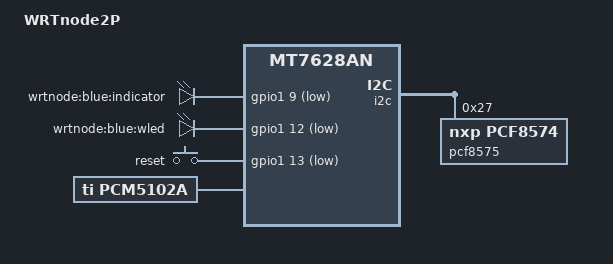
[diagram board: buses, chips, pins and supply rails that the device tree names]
/dts-v1/;
#include <dt-bindings/gpio/gpio.h>
#include <dt-bindings/input/input.h>
#include <dt-bindings/interrupt-controller/irq.h>

#include "WRTNODE2.dtsi"

/ {
	compatible = "mediatek,wrtnode2p", "mediatek,mt7628an-soc";
	model = "WRTnode2P";

	gpio-leds {
		compatible = "gpio-leds";

		indicator {
			label = "wrtnode:blue:indicator";
			gpios = <&gpio1 9 GPIO_ACTIVE_LOW>;
		};

		wled {
			label = "wrtnode:blue:wled";
			gpios = <&gpio1 12 GPIO_ACTIVE_LOW>;
		};
	}; 

	gpio-keys-polled {
		compatible = "gpio-keys-polled";
		#address-cells = <1>;
		#size-cells = <0>;
		poll-interval = <20>;

		reset {
			label = "reset";
			gpios = <&gpio1 13 GPIO_ACTIVE_LOW>;
			linux,code = <KEY_RESTART>;
		};
	};

	pcm5102a: pcm5102a-codec {
		compatible = "ti,pcm5102a";
	};

	sound {
		compatible = "simple-audio-card";
		simple-audio-card,name = "PCM5102-I2S";
		simple-audio-card,format = "i2s";
		simple-audio-card,bitclock-master = <&dailink0_master>;
		simple-audio-card,frame-master = <&dailink0_master>;

		simple-audio-card,cpu {
			sound-dai = <&i2s>;
		};

		dailink0_master: simple-audio-card,codec {
			sound-dai = <&pcm5102a>;
		};
	};

	/*sound {
		compatible = "mediatek,mt7620-pcm5102a";
		i2s-controller = <&i2s>;
		audio-codec = <&pcm5102a>;
	};*/
};

&i2c {
	pcf8575: gpio@27 {
		compatible = "nxp,pcf8574";
		reg = <0x27>;
		//interrupt-parent = <&gpio>;
		//interrupts = <11 IRQ_TYPE_EDGE_FALLING>;
		gpio-controller;
		#gpio-cells = <2>;
		//interrupt-controller;
		//#interrupt-cells = <2>;
	};
};

&uart1 {
	status = "disabled";
};

&uart2 {
	status = "disabled";
};

&pinctrl {
	state_default: pinctrl0 {
		gpio {
			ralink,group = "gpio";
			ralink,function = "gpio";
		};

		uart1 {
			ralink,group = "uart1";
			ralink,function = "gpio";
		};

		uart2 {
			ralink,group = "uart2";
			ralink,function = "gpio";
		};

		wled_an {
			ralink,group = "wled_an";
			ralink,function = "gpio";
		};

		pwm0 {
			ralink,group = "pwm0";
			ralink,function = "gpio";
		};

		pwm1 {
			ralink,group = "pwm1";
			ralink,function = "gpio";
		};

		p0led_an {
			ralink,group = "p0led_an";
			ralink,function = "p0led_an";
		};

		p1led_an {
			ralink,group = "p1led_an";
			ralink,function = "gpio";
		};

		p2led_an {
			ralink,group = "p2led_an";
			ralink,function = "gpio";
		};

		p3led_an {
			ralink,group = "p3led_an";
			ralink,function = "gpio";
		};

		p4led_an {
			ralink,group = "p4led_an";
			ralink,function = "gpio";
		};
	};
};
